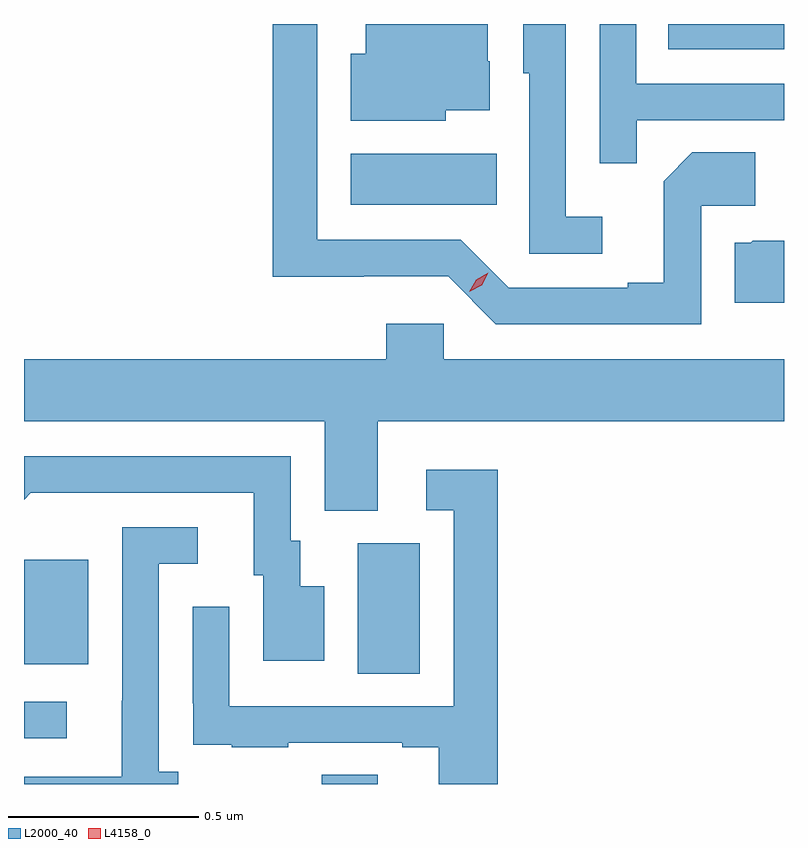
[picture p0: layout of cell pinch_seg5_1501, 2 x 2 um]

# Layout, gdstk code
import gdstk
lib = gdstk.Library(unit=1e-6, precision=1e-09)
def R(c, l, rs):  # rectangles x0, y0, x1, y1
    for r in rs: c.add(gdstk.rectangle(r[:2], r[2:], *l))
def P(c, l, *ps):  # polygons
    for p in ps: c.add(gdstk.Polygon(p, *l))
L2000_40 = (2000, 40)
L4158_0 = (4158, 0)

pinch_seg5_1501 = lib.new_cell('pinch_seg5_1501')
R(pinch_seg5_1501, L2000_40, [(134.854,885.11,135.001,885.134), (134.07,885.231,134.182,885.327), (134.948,885.4,135.112,885.744), (134.07,885.425,134.239,885.7), (134.93,886.634,135.314,886.768), (135.766,887.043,136.07,887.11)])
P(pinch_seg5_1501, L2000_40, [(135.852,886.632),(135.994,886.632),(135.994,886.772),(135.829,886.772),(135.753,886.696),(135.753,886.429),(135.659,886.429),(135.659,886.416),(135.345,886.416),(135.219,886.542),(134.842,886.542),(134.842,887.11),(134.724,887.11),(134.724,886.445),(134.964,886.445),(134.964,886.446),(135.186,886.446),(135.312,886.32),(135.852,886.32)],
  [(135.18,886.883),(135.295,886.883),(135.295,887.012),(135.291,887.012),(135.291,887.11),(134.969,887.11),(134.969,887.032),(134.93,887.032),(134.93,886.856),(135.18,886.856)],
  [(135.683,886.857),(136.07,886.857),(136.07,886.953),(135.681,886.953),(135.681,887.11),(135.585,887.11),(135.585,886.744),(135.683,886.744)],
  [(135.592,886.603),(135.495,886.603),(135.495,887.11),(135.384,887.11),(135.384,886.98),(135.399,886.98),(135.399,886.506),(135.592,886.506)],
  [(136.07,886.54),(135.988,886.54),(135.982,886.534),(135.941,886.534),(135.941,886.376),(136.07,886.376)],
  [(135.001,886.064),(136.07,886.064),(136.07,886.228),(135.174,886.228),(135.174,886.321),(135.023,886.321),(135.023,886.228),(134.07,886.228),(134.07,886.064),(134.861,886.064),(134.861,885.829),(135.001,885.829)],
  [(134.86,885.631),(134.797,885.631),(134.797,885.75),(134.772,885.75),(134.772,885.972),(134.07,885.972),(134.07,885.858),(134.088,885.876),(134.675,885.876),(134.675,885.66),(134.699,885.66),(134.699,885.435),(134.86,885.435)],
  [(135.317,885.937),(135.129,885.937),(135.129,885.831),(135.201,885.831),(135.201,885.315),(134.61,885.315),(134.61,885.577),(134.514,885.577),(134.514,885.322),(134.515,885.322),(134.515,885.213),(134.617,885.213),(134.617,885.207),(134.765,885.207),(134.765,885.219),(135.065,885.219),(135.065,885.207),(135.161,885.207),(135.161,885.11),(135.317,885.11)],
  [(134.476,885.142),(134.424,885.142),(134.424,885.69),(134.527,885.69),(134.527,885.786),(134.328,885.786),(134.328,885.329),(134.327,885.329),(134.327,885.129),(134.07,885.129),(134.07,885.11),(134.476,885.11)])
P(pinch_seg5_1501, L4158_0, [(135.242,886.405),(135.242,886.405),(135.26,886.437),(135.292,886.456),(135.292,886.456),(135.292,886.455),(135.274,886.423),(135.242,886.405)])

lib.write_gds('pinch_seg5_1501.gds')
